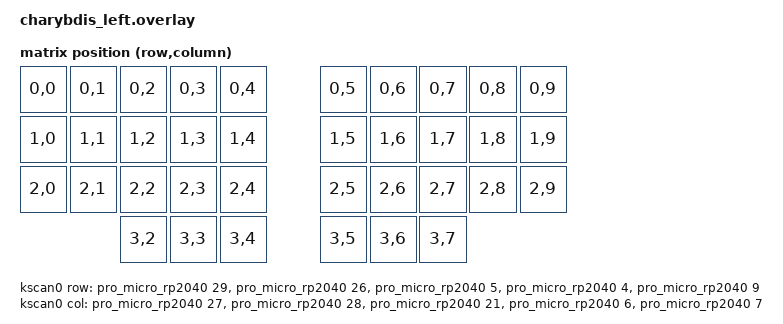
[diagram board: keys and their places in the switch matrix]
/*
 * Copyright (c) 2022 The ZMK Contributors
 * SPDX-License-Identifier: MIT
 * Based on Splinktegrated Pins: https://docs.bastardkb.com/hw/pins.html
 */

#include <dt-bindings/zmk/matrix_transform.h>

/ {
    chosen {
        zmk,kscan = &kscan0;
        zmk,matrix_transform = &default_transform;
        // Enable split keyboard communication
        zmk,split = &split;
    };

    kscan0: kscan {
        compatible = "zmk,kscan-gpio-matrix";
        label = "KSCAN";
        diode-direction = "col2row";

        // Splinktegrated Pins - Left Half (3x5)
        col-gpios
            = <&pro_micro_rp2040 27 (GPIO_ACTIVE_HIGH | GPIO_PULL_DOWN)> // C1 (GP27)
            , <&pro_micro_rp2040 28 (GPIO_ACTIVE_HIGH | GPIO_PULL_DOWN)> // C2 (GP28)
            , <&pro_micro_rp2040 21 (GPIO_ACTIVE_HIGH | GPIO_PULL_DOWN)> // C3 (GP21)
            , <&pro_micro_rp2040 6 (GPIO_ACTIVE_HIGH | GPIO_PULL_DOWN)>  // C4 (GP6)
            , <&pro_micro_rp2040 7 (GPIO_ACTIVE_HIGH | GPIO_PULL_DOWN)>  // C5 (GP7)
            ;

        row-gpios
            = <&pro_micro_rp2040 29 GPIO_ACTIVE_HIGH> // R1 (GP29)
            , <&pro_micro_rp2040 26 GPIO_ACTIVE_HIGH> // R2 (GP26)
            , <&pro_micro_rp2040 5 GPIO_ACTIVE_HIGH>  // R3 (GP5)
            , <&pro_micro_rp2040 4 GPIO_ACTIVE_HIGH>  // R4 (GP4)
            , <&pro_micro_rp2040 9 GPIO_ACTIVE_HIGH>  // R5 (GP9, Thumb Cluster row)
            ;
    };

    default_transform: matrix_transform {
        compatible = "zmk,matrix-transform";
        rows = <4>; // 3 Main rows + 1 Thumb row mapped to Row R5/GP9
        columns = <10>; // 5 cols per side
        // Map for the *entire* keyboard, ZMK handles splitting
        map = <
        RC(0,0) RC(0,1) RC(0,2) RC(0,3) RC(0,4)          RC(0,5) RC(0,6) RC(0,7) RC(0,8) RC(0,9)
        RC(1,0) RC(1,1) RC(1,2) RC(1,3) RC(1,4)          RC(1,5) RC(1,6) RC(1,7) RC(1,8) RC(1,9)
        RC(2,0) RC(2,1) RC(2,2) RC(2,3) RC(2,4)          RC(2,5) RC(2,6) RC(2,7) RC(2,8) RC(2,9)
                        RC(3,2) RC(3,3) RC(3,4)          RC(3,5) RC(3,6) RC(3,7) // Thumbs map to Row 3
        >;
    };

    split: split {
        compatible = "zmk,split-uart";
        label = "SPLIT";
        uart = <&uart0>; // Use UART0 for split communication
        // WARNING: Splinktegrated docs only list GP1 for Serial.
        // Assuming standard GP0/GP1 for UART0. Verify your TRRS wiring.
    };

    // Define UART pins for split communication (Assumed Standard)
    &uart0 {
        status = "okay";
        tx-pin = <0>; // TX Pin GPIO0
        rx-pin = <1>; // RX Pin GPIO1
    };

    // --- Unused peripheral definitions removed --- 

}; 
